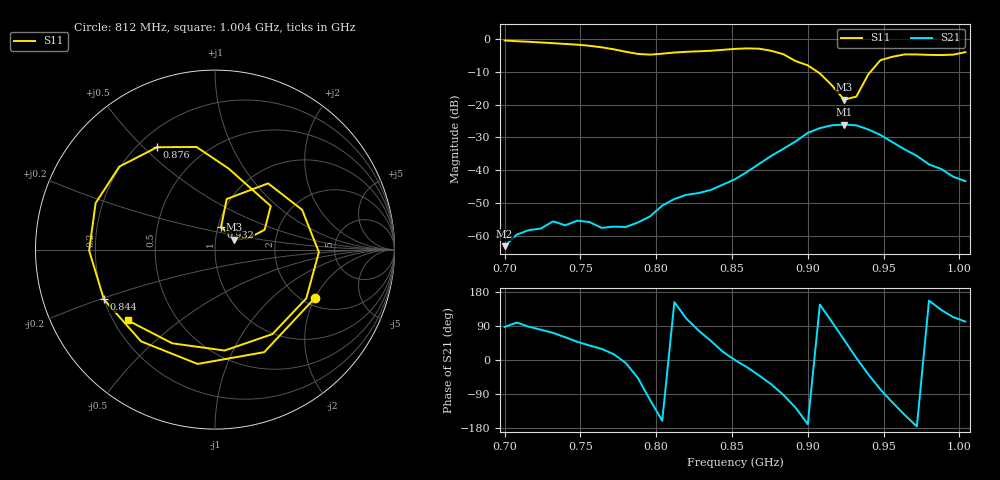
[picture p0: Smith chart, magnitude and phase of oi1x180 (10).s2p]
# Hz S RI R 50
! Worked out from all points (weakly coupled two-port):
!   39 points, 700 MHz to 1.004 GHz, reference 50 ohm
!   highest |S21| = -26.07 dB at 924 MHz (marker M1); lowest = -63.0 dB at 700 MHz (marker M2)
!   lowest |S11| = -18.5 dB at 924 MHz (marker M3), VSWR 1.27, Z = 61.4 + j6.88 ohm
!   |S11| at or under -10 dB: 906.3 MHz to 941.5 MHz (35.19 MHz wide, 3.81 % of centre)
!   S12 and S22 are empty: the file has one direction only
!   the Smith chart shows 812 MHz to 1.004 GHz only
!   S11 on the Smith chart (normalised r, x): 812 MHz: 2.28, -2.00; 844 MHz: 0.20, -0.21; 876 MHz: 0.27, +0.55; 932 MHz: 1.04, +0.27; 1.004 GHz: 0.26, -0.33
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7e8  0.7576 0.5597  3.38e-05 0.000706  0 0  0 0
7.24e8  0.8437 -0.2404  0.000231 0.00129  0 0  0 0
7.4e8  0.4565 -0.6976  0.00073 0.00127  0 0  0 0
7.56e8  -0.1902 -0.7591  0.00129 0.00102  0 0  0 0
7.72e8  -0.6601 -0.2047  0.00135 0.000369  0 0  0 0
7.8e8  -0.5946 0.2191  0.00137 -0.000195  0 0  0 0
7.88e8  -0.2525 0.5309  0.00109 -0.0012  0 0  0 0
7.96e8  0.2319 0.5248  -0.000546 -0.00193  0 0  0 0
8.04e8  0.5634 0.1834  -0.00275 -0.000982  0 0  0 0
8.12e8  0.5555 -0.2708  -0.00328 0.00168  0 0  0 0
8.28e8  -0.097 -0.637  0.000968 0.00443  0 0  0 0
8.44e8  -0.6189 -0.2774  0.00565 0.00224  0 0  0 0
8.52e8  -0.7013 -0.0055  0.00734 -4.42e-05  0 0  0 0
8.76e8  -0.3229 0.5705  0.0072 -0.015  0 0  0 0
9e8  0.3106 0.2425  -0.0366 -0.00683  0 0  0 0
9.08e8  0.2763 0.1104  -0.0364 0.0246  0 0  0 0
9.24e8  0.1056 0.0552  0.0298 0.0398  0 0  0 0
9.32e8  0.034 0.1273  0.0482 0.00479  0 0  0 0
9.48e8  0.296 0.369  0.00716 -0.0338  0 0  0 0
9.56e8  0.4855 0.2217  -0.0102 -0.0247  0 0  0 0
9.8e8  0.3198 -0.4708  -0.0113 0.00488  0 0  0 0
1.004e9  -0.4849 -0.3948  -0.00135 0.00673  0 0  0 0
